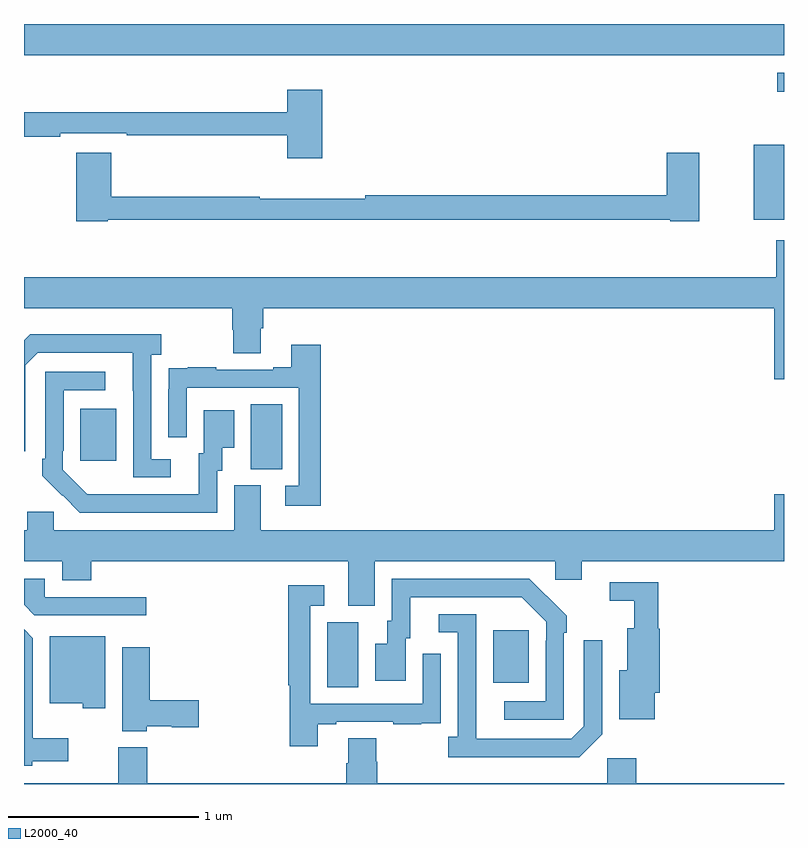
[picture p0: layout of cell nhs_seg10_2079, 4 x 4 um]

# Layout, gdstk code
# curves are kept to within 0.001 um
import gdstk
lib = gdstk.Library(unit=1e-6, precision=1e-09)
def R(c, l, rs):  # rectangles x0, y0, x1, y1
    for r in rs: c.add(gdstk.rectangle(r[:2], r[2:], *l))
def P(c, l, *ps):  # polygons
    for p in ps: c.add(gdstk.Polygon(p, *l))
L2000_40 = (2000, 40)

nhs_seg10_2079 = lib.new_cell('nhs_seg10_2079')
R(nhs_seg10_2079, L2000_40, [(222.596,1277.008,222.76,1277.352), (223.469,1277.033,223.657,1277.308), (222.194,1278.157,222.358,1278.5), (221.297,1278.201,221.485,1278.475), (224.84,1279.469,225,1279.864), (224.964,1280.143,225,1280.244), (221,1280.336,225,1280.5)])
P(nhs_seg10_2079, L2000_40, [(222.569,1280.155),(222.386,1280.155),(222.386,1280.035),(221,1280.035),(221,1279.906),(221.192,1279.906),(221.192,1279.926),(221.542,1279.926),(221.542,1279.914),(222.386,1279.914),(222.386,1279.794),(222.569,1279.794)],
  [(221.442,1279.47),(224.4,1279.47),(224.4,1279.462),(224.554,1279.462),(224.554,1279.822),(224.384,1279.822),(224.384,1279.598),(222.795,1279.598),(222.795,1279.58),(222.242,1279.58),(222.242,1279.591),(221.459,1279.591),(221.459,1279.822),(221.276,1279.822),(221.276,1279.462),(221.442,1279.462)],
  [(225,1279.363),(224.96,1279.363),(224.96,1279.168),(221,1279.168),(221,1279.004),(222.095,1279.004),(222.095,1278.891),(222.1,1278.891),(222.1,1278.766),(222.247,1278.766),(222.247,1278.898),(222.26,1278.898),(222.26,1279.004),(224.948,1279.004),(224.948,1278.63),(225,1278.63)],
  [(221.773,1278.21),(221.67,1278.21),(221.67,1278.758),(221.722,1278.758),(221.722,1278.868),(221.032,1278.868),(221,1278.836),(221,1278.252),(221.007,1278.252),(221.007,1278.705),(221.073,1278.771),(221.573,1278.771),(221.574,1278.114),(221.773,1278.114)],
  [(222.563,1278.811),(222.407,1278.811),(222.407,1278.694),(222.311,1278.694),(222.311,1278.681),(222.011,1278.681),(222.011,1278.694),(221.863,1278.694),(221.863,1278.687),(221.761,1278.687),(221.761,1278.578),(221.76,1278.578),(221.76,1278.324),(221.856,1278.324),(221.856,1278.585),(222.447,1278.585),(222.447,1278.069),(222.375,1278.069),(222.375,1277.964),(222.563,1277.964)],
  [(222.018,1278.15),(222.043,1278.15),(222.043,1278.269),(222.106,1278.269),(222.106,1278.466),(221.945,1278.466),(221.945,1278.24),(221.921,1278.24),(221.921,1278.024),(221.334,1278.025),(221.205,1278.153),(221.205,1278.253),(221.208,1278.253),(221.208,1278.573),(221.428,1278.573),(221.428,1278.669),(221.112,1278.669),(221.112,1278.211),(221.097,1278.211),(221.097,1278.123),(221.294,1277.928),(222.018,1277.928)],
  [(225,1278.025),(224.948,1278.025),(224.948,1277.836),(222.247,1277.836),(222.247,1278.072),(222.107,1278.072),(222.107,1277.836),(221.157,1277.836),(221.157,1277.934),(221.018,1277.934),(221.018,1277.836),(221,1277.836),(221,1277.672),(221.201,1277.672),(221.201,1277.573),(221.354,1277.573),(221.354,1277.672),(222.707,1277.672),(222.707,1277.437),(222.847,1277.437),(222.847,1277.672),(223.797,1277.672),(223.797,1277.574),(223.936,1277.574),(223.936,1277.672),(225,1277.672)],
  [(223.842,1277.297),(223.857,1277.297),(223.857,1277.385),(223.66,1277.58),(222.936,1277.58),(222.936,1277.358),(222.911,1277.358),(222.911,1277.239),(222.848,1277.239),(222.848,1277.043),(223.009,1277.043),(223.009,1277.268),(223.033,1277.268),(223.033,1277.484),(223.621,1277.484),(223.749,1277.355),(223.749,1277.255),(223.746,1277.255),(223.746,1276.935),(223.527,1276.935),(223.527,1276.839),(223.842,1276.839)],
  [(221.644,1277.484),(221.109,1277.484),(221.109,1277.58),(221,1277.58),(221,1277.444),(221.055,1277.388),(221.644,1277.388)],
  [(224.32,1276.98),(224.345,1276.98),(224.345,1277.316),(224.339,1277.316),(224.339,1277.562),(224.082,1277.562),(224.082,1277.465),(224.211,1277.465),(224.211,1277.32),(224.174,1277.32),(224.174,1277.098),(224.132,1277.098),(224.132,1276.841),(224.32,1276.841)],
  [(222.547,1276.815),(222.643,1276.815),(222.643,1276.827),(222.943,1276.827),(222.943,1276.815),(223.091,1276.815),(223.091,1276.821),(223.193,1276.821),(223.193,1276.93),(223.194,1276.93),(223.194,1277.185),(223.098,1277.185),(223.098,1276.923),(222.507,1276.923),(222.507,1277.439),(222.58,1277.439),(222.58,1277.545),(222.391,1277.545),(222.391,1277.02),(222.399,1277.02),(222.399,1276.698),(222.547,1276.698)],
  [(224.043,1276.761),(224.043,1277.257),(223.947,1277.257),(223.947,1276.803),(223.881,1276.737),(223.381,1276.737),(223.38,1277.394),(223.182,1277.394),(223.182,1277.298),(223.284,1277.298),(223.284,1276.75),(223.233,1276.75),(223.233,1276.64),(223.922,1276.64)],
  [(221.043,1276.619),(221.233,1276.619),(221.233,1276.741),(221.047,1276.741),(221.047,1277.267),(221,1277.314),(221,1276.595),(221.043,1276.595)],
  [(221.428,1277.278),(221.135,1277.278),(221.135,1276.925),(221.31,1276.925),(221.31,1276.898),(221.428,1276.898)],
  [(221.646,1276.805),(221.777,1276.805),(221.777,1276.798),(221.92,1276.798),(221.92,1276.94),(221.663,1276.94),(221.663,1277.221),(221.516,1277.221),(221.516,1276.778),(221.646,1276.778)],
  [(222.707,1276.742),(222.707,1276.61),(222.695,1276.61),(222.695,1276.504),(221.648,1276.504),(221.648,1276.693),(221.495,1276.693),(221.495,1276.504),(221,1276.504),(221,1276.5),(225,1276.5),(225,1276.504),(224.222,1276.504),(224.222,1276.636),(224.07,1276.636),(224.07,1276.504),(222.86,1276.504),(222.86,1276.617),(222.855,1276.617),(222.855,1276.742)])

lib.write_gds('nhs_seg10_2079.gds')
